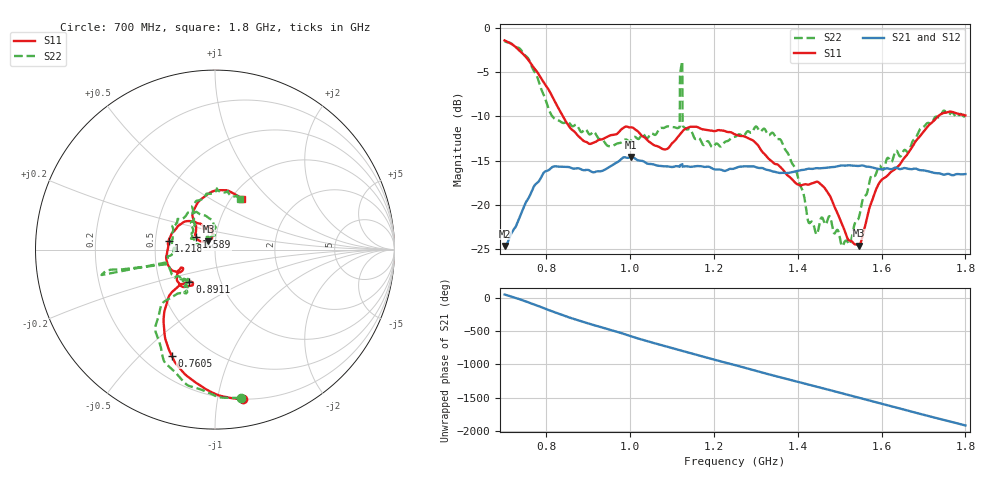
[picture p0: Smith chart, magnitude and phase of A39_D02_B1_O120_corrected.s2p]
! Created with skrf 1.9.0 (http://scikit-rf.org).
# Hz S RI R 50.0
!freq ReS11 ImS11 ReS21 ImS21 ReS12 ImS12 ReS22 ImS22
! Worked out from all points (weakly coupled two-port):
!   1601 points, 700 MHz to 1.8 GHz, reference 50 ohm
!   highest |S21| = -14.59 dB at 1.002 GHz (marker M1); lowest = -24.6 dB at 700.7 MHz (marker M2)
!   lowest |S11| = -24.6 dB at 1.546 GHz (marker M3), VSWR 1.12, Z = 46.3 + j4.25 ohm
!   |S11| at or under -10 dB: 839.2 MHz to 1.735 GHz (895.4 MHz wide, 69.6 % of centre)
!   |S22| runs from -24.7 to -1.5 dB; largest |S21 - S12| = 0.0035
!   S11 on the Smith chart (normalised r, x): 700 MHz: 0.20, -1.19; 760.5 MHz: 0.31, -0.62; 891.1 MHz: 0.71, -0.27; 1.218 GHz: 0.59, +0.06; 1.589 GHz: 0.80, +0.11; 1.8 GHz: 1.12, +0.71
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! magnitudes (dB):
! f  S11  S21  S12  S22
! 700 MHz  -1.4  -24.6  -24.4  -1.5
! 700.7 MHz  -1.4  -24.6  -24.3  -1.5
! 760.5 MHz  -3.9  -18.9  -18.8  -3.9
! 814.8 MHz  -7.8  -15.7  -15.8  -10.1
! 883.6 MHz  -12.6  -16.0  -15.9  -11.8
! 891.1 MHz  -12.8  -16.1  -16.1  -11.5
! 1.002 GHz  -11.2  -14.6  -14.7  -12.7
! 1.067 GHz  -13.4  -15.6  -15.5  -11.6
! 1.113 GHz  -12.4  -15.6  -15.7  -11.3
! 1.124 GHz  -11.7  -15.4  -15.3  -3.8
! 1.13 GHz  -11.4  -15.6  -15.7  -11.3
! 1.218 GHz  -11.6  -16.1  -16.1  -13.3
! 1.25 GHz  -12.0  -15.9  -15.8  -12.3
! 1.359 GHz  -15.7  -16.4  -16.4  -12.6
! 1.434 GHz  -17.6  -15.9  -15.9  -21.9
! 1.476 GHz  -18.9  -15.8  -15.8  -21.3
! 1.508 GHz  -22.4  -15.6  -15.5  -24.6
! 1.546 GHz  -24.6  -15.6  -15.6  -21.5
! 1.589 GHz  -18.0  -15.9  -15.9  -16.2
! 1.617 GHz  -16.5  -15.9  -15.9  -14.8
! 1.737 GHz  -9.9  -16.4  -16.5  -10.1
! 1.8 GHz  -9.9  -16.5  -16.5  -10.1
